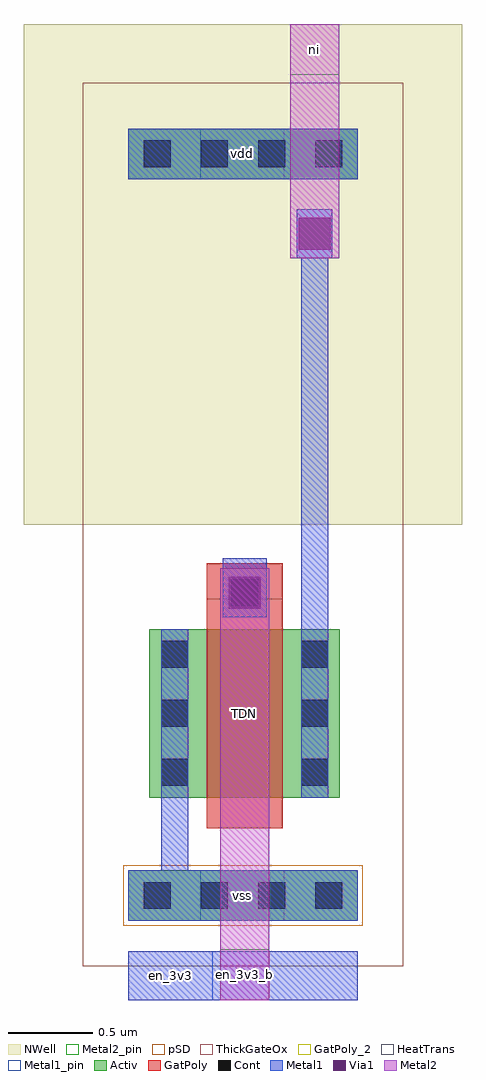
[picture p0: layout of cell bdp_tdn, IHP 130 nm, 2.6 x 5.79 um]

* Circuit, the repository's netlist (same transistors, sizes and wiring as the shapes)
* SPDX-FileCopyrightText: 2026 Christoph Maier
* SPDX-License-Identifier: Apache-2.0
* bdp_tdn (Claude, agent D, C4 2026-11-07). hv devices 1u/0.45u; every device as drawn.

.SUBCKT bdp_tdn en_3v3 en_3v3_b ni vdd vss
MTDN ni en_3v3_b vss vss sg13_hv_nmos w=1u l=0.45u ng=1 m=1
.ENDS bdp_tdn

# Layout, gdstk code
import gdstk
lib = gdstk.Library(unit=1e-6, precision=1e-09)
def R(c, l, rs):  # rectangles x0, y0, x1, y1
    for r in rs: c.add(gdstk.rectangle(r[:2], r[2:], *l))
def A(c, l, x, y, w, h, nx, ny, dx, dy):  # array of equal rectangles
    R(c, l, [(x+i*dx, y+j*dy, x+i*dx+w, y+j*dy+h) for i in range(nx) for j in range(ny)])
Activ = (1, 0)
GatPoly = (5, 0)
GatPoly_2 = (5, 2)
Cont = (6, 0)
Metal1 = (8, 0)
Metal1_pin = (8, 2)
Metal2 = (10, 0)
Metal2_pin = (10, 2)
pSD = (14, 0)
Via1 = (19, 0)
NWell = (31, 0)
ThickGateOx = (44, 0)
HeatTrans = (51, 0)

nmoshv_w1_l0p45 = lib.new_cell('nmosHV_w1_l0p45')
R(nmoshv_w1_l0p45, Activ, [(0,0,0.3,0.3), (0,0,1.13,1), (0.83,0,1.13,0.3)])
R(nmoshv_w1_l0p45, GatPoly, [(0.34,-0.18,0.79,1.18)])
R(nmoshv_w1_l0p45, GatPoly_2, [(0.34,-0.18,0.79,1.18)])
A(nmoshv_w1_l0p45, Cont, 0.07, 0.07, 0.16, 0.16, 1, 3, 0, 0.35)
A(nmoshv_w1_l0p45, Cont, 0.9, 0.07, 0.16, 0.16, 1, 3, 0, 0.35)
R(nmoshv_w1_l0p45, Metal1, [(0.07,0,0.23,1), (0.9,0,1.06,1)])
R(nmoshv_w1_l0p45, Metal1_pin, [(0.07,0,0.23,1), (0.9,0,1.06,1)])
R(nmoshv_w1_l0p45, ThickGateOx, [(-0.27,-0.52,1.4,1.52)])
R(nmoshv_w1_l0p45, HeatTrans, [(0.34,-0.18,0.79,1.18)])
nmoshv_w1_l0p45.add(gdstk.Label('nmosHV', (0.565,0.5), layer=63, texttype=0))
nmoshv_w1_l0p45.add(gdstk.Label('nmosHV', (0.565,0.5), layer=51, texttype=0))

bdp_tdn = lib.new_cell('bdp_tdn')
R(bdp_tdn, Activ, [(-0.125,0,1.235,0.3), (-0.125,4.4,1.235,4.7)])
R(bdp_tdn, GatPoly, [(0.34,1.91,0.79,2.12)])
A(bdp_tdn, Cont, -0.035, 0.07, 0.16, 0.16, 4, 2, 0.34, 4.4)
R(bdp_tdn, Cont, [(0.485,1.87,0.645,2.03)])
R(bdp_tdn, Metal1, [(-0.125,-0.47,1.235,-0.18), (-0.125,0,1.235,0.3), (0.07,0.3,0.23,0.73), (0.9,1.73,1.06,3.93), (0.435,1.8,0.695,2.15), (0.875,3.93,1.085,4.22), (-0.125,4.4,1.235,4.7)])
R(bdp_tdn, Metal1_pin, [(-0.125,-0.47,0.375,-0.18), (0.3,0,0.8,0.3), (0.3,4.4,0.8,4.7)])
R(bdp_tdn, Metal2, [(0.42,-0.47,0.71,2.09), (0.835,3.93,1.125,5.32)])
R(bdp_tdn, Metal2_pin, [(0.42,-0.47,0.71,-0.17), (0.835,5.02,1.125,5.32)])
R(bdp_tdn, pSD, [(-0.155,-0.03,1.265,0.33)])
R(bdp_tdn, Via1, [(0.47,1.85,0.66,2.04), (0.885,3.98,1.075,4.17)])
R(bdp_tdn, NWell, [(-0.745,2.35,1.855,5.32)])
R(bdp_tdn, ThickGateOx, [(-0.395,-0.27,1.505,4.97)])
bdp_tdn.add(gdstk.Reference(nmoshv_w1_l0p45, (0,0.73)))
bdp_tdn.add(gdstk.Label('en_3v3', (0.125,-0.325), layer=8, texttype=25))
bdp_tdn.add(gdstk.Label('vdd', (0.55,4.55), layer=8, texttype=25))
bdp_tdn.add(gdstk.Label('vss', (0.55,0.15), layer=8, texttype=25))
bdp_tdn.add(gdstk.Label('en_3v3_b', (0.565,-0.32), layer=10, texttype=25))
bdp_tdn.add(gdstk.Label('ni', (0.98,5.17), layer=10, texttype=25))
bdp_tdn.add(gdstk.Label('TDN', (0.565,1.23), layer=63, texttype=0))

lib.write_gds('bdp_tdn.gds')
